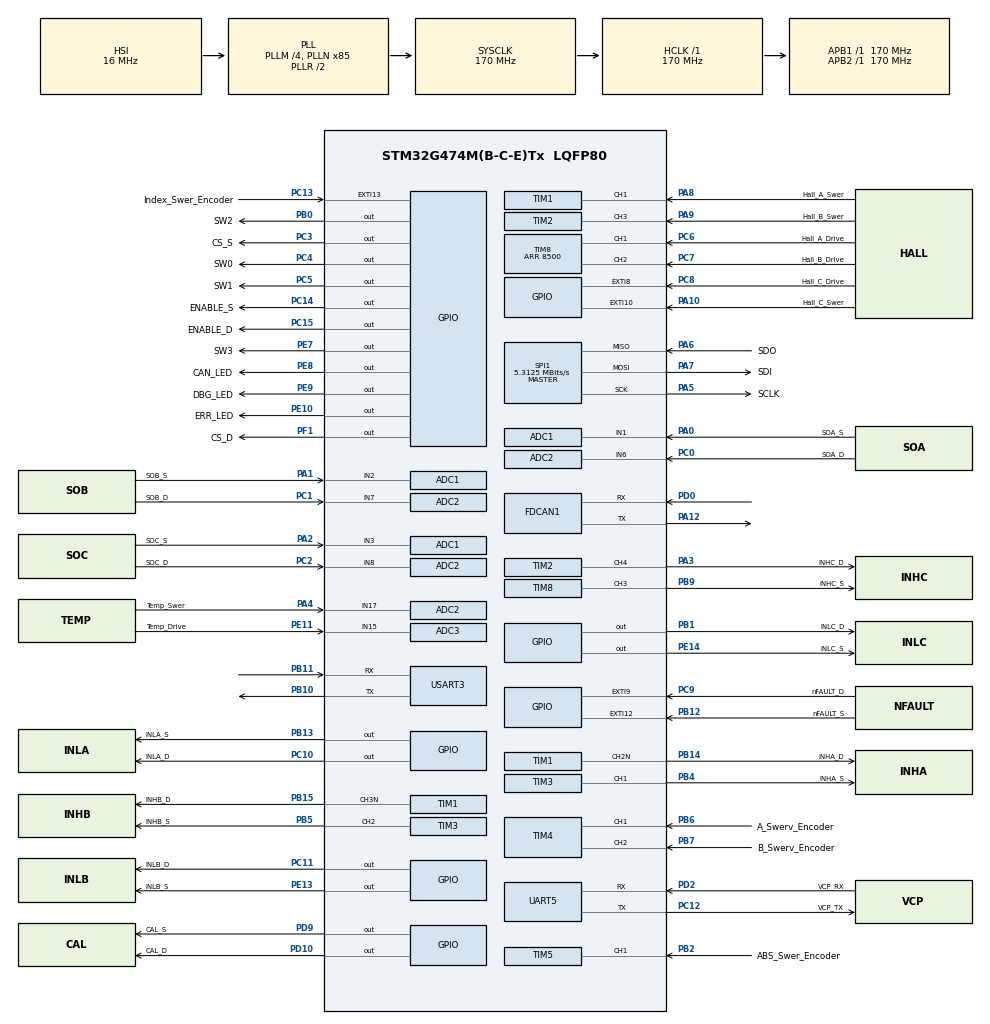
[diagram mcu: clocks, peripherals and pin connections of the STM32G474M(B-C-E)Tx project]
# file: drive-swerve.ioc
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ADC1.Channel-0\#ChannelRegularConversion=ADC_CHANNEL_1
ADC1.EnableInjectedConversion=ENABLE
ADC1.InjNumberOfConversion=3
ADC1.InjectedChannel-1\#ChannelInjectedConversion=ADC_CHANNEL_1
ADC1.InjectedChannel-2\#ChannelInjectedConversion=ADC_CHANNEL_2
ADC1.InjectedChannel-3\#ChannelInjectedConversion=ADC_CHANNEL_3
ADC1.InjectedOffsetNumber-1\#ChannelInjectedConversion=ADC_OFFSET_NONE
ADC1.InjectedOffsetNumber-2\#ChannelInjectedConversion=ADC_OFFSET_NONE
ADC1.InjectedOffsetNumber-3\#ChannelInjectedConversion=ADC_OFFSET_NONE
ADC1.InjectedRank-1\#ChannelInjectedConversion=1
ADC1.InjectedRank-2\#ChannelInjectedConversion=2
ADC1.InjectedRank-3\#ChannelInjectedConversion=3
ADC1.InjectedSamplingTime-1\#ChannelInjectedConversion=ADC_SAMPLETIME_2CYCLES_5
ADC1.InjectedSamplingTime-2\#ChannelInjectedConversion=ADC_SAMPLETIME_2CYCLES_5
ADC1.InjectedSamplingTime-3\#ChannelInjectedConversion=ADC_SAMPLETIME_2CYCLES_5
ADC1.NbrOfConversionFlag=1
ADC1.OffsetNumber-0\#ChannelRegularConversion=ADC_OFFSET_NONE
ADC1.Rank-0\#ChannelRegularConversion=1
ADC1.SamplingTime-0\#ChannelRegularConversion=ADC_SAMPLETIME_2CYCLES_5
ADC1.master=1
ADC2.Channel-0\#ChannelRegularConversion=ADC_CHANNEL_17
ADC2.EnableInjectedConversion=ENABLE
ADC2.InjNumberOfConversion=3
ADC2.InjectedChannel-1\#ChannelInjectedConversion=ADC_CHANNEL_6
ADC2.InjectedChannel-2\#ChannelInjectedConversion=ADC_CHANNEL_7
ADC2.InjectedChannel-3\#ChannelInjectedConversion=ADC_CHANNEL_8
ADC2.InjectedOffsetNumber-1\#ChannelInjectedConversion=ADC_OFFSET_NONE
ADC2.InjectedOffsetNumber-2\#ChannelInjectedConversion=ADC_OFFSET_NONE
ADC2.InjectedOffsetNumber-3\#ChannelInjectedConversion=ADC_OFFSET_NONE
ADC2.InjectedRank-1\#ChannelInjectedConversion=1
ADC2.InjectedRank-2\#ChannelInjectedConversion=2
ADC2.InjectedRank-3\#ChannelInjectedConversion=3
ADC2.InjectedSamplingTime-1\#ChannelInjectedConversion=ADC_SAMPLETIME_2CYCLES_5
ADC2.InjectedSamplingTime-2\#ChannelInjectedConversion=ADC_SAMPLETIME_2CYCLES_5
ADC2.InjectedSamplingTime-3\#ChannelInjectedConversion=ADC_SAMPLETIME_2CYCLES_5
ADC2.NbrOfConversionFlag=1
ADC2.OffsetNumber-0\#ChannelRegularConversion=ADC_OFFSET_NONE
ADC2.Rank-0\#ChannelRegularConversion=1
ADC2.Rank1_Channel=ADC_CHANNEL_6
ADC2.Rank2_Channel=ADC_CHANNEL_7
ADC2.Rank3_Channel=ADC_CHANNEL_8
ADC2.Rank4_Channel=ADC_CHANNEL_6
ADC2.SamplingTime-0\#ChannelRegularConversion=ADC_SAMPLETIME_2CYCLES_5
ADC3.Channel-0\#ChannelRegularConversion=ADC_CHANNEL_15
ADC3.NbrOfConversionFlag=1
ADC3.OffsetNumber-0\#ChannelRegularConversion=ADC_OFFSET_NONE
ADC3.Rank-0\#ChannelRegularConversion=1
ADC3.SamplingTime-0\#ChannelRegularConversion=ADC_SAMPLETIME_2CYCLES_5
ADC3.master=1
FDCAN1.AutoRetransmission=ENABLE
FDCAN1.CalculateBaudRateNominal=1250000
FDCAN1.CalculateTimeBitNominal=800
FDCAN1.CalculateTimeQuantumNominal=23.529411764705884
FDCAN1.NominalPrescaler=4
FDCAN1.NominalSyncJumpWidth=4
FDCAN1.NominalTimeSeg1=28
FDCAN1.NominalTimeSeg2=5
Mcu.Family=STM32G4
Mcu.Name=STM32G474M(B-C-E)Tx
Mcu.Package=LQFP80
NVIC.PriorityGroup=NVIC_PRIORITYGROUP_4
NVIC.TIM1_CC_IRQn=true\:0\:0\:false\:false\:true\:true\:true\:true
NVIC.TIM2_IRQn=true\:0\:0\:false\:false\:true\:true\:true\:true
NVIC.TIM8_CC_IRQn=true\:0\:0\:false\:false\:true\:true\:true\:true
PA0.GPIO_Label=SOA_S
PA0.Mode=IN1-Single-Ended
PA0.Signal=ADC1_IN1
PA1.GPIO_Label=SOB_S
PA1.Mode=IN2-Single-Ended
PA1.Signal=ADC1_IN2
PA10.GPIO_Label=Hall_C_Swer
PA10.GPIO_ModeDefaultEXTI=GPIO_MODE_IT_RISING_FALLING
PA10.Signal=GPXTI10
PA12.Mode=FDCAN_Activate
PA12.Signal=FDCAN1_TX
PA13.Mode=JTAG_4_pins
PA13.Signal=SYS_JTMS-SWDIO
PA14.Mode=JTAG_4_pins
PA14.Signal=SYS_JTCK-SWCLK
PA15.Mode=JTAG_4_pins
PA15.Signal=SYS_JTDI
PA2.GPIO_Label=SOC_S
PA2.Mode=IN3-Single-Ended
PA2.Signal=ADC1_IN3
PA3.GPIO_Label=INHC_D
PA3.Signal=S_TIM2_CH4
PA4.GPIO_Label=Temp_Swer
PA4.Mode=IN17-Single-Ended
PA4.Signal=ADC2_IN17
PA5.GPIO_Label=SCLK
PA5.Mode=Full_Duplex_Master
PA5.Signal=SPI1_SCK
PA6.GPIO_Label=SDO
PA6.Mode=Full_Duplex_Master
PA6.Signal=SPI1_MISO
PA7.GPIO_Label=SDI
PA7.Mode=Full_Duplex_Master
PA7.Signal=SPI1_MOSI
PA8.GPIO_Label=Hall_A_Swer
PA8.Signal=S_TIM1_CH1
PA9.GPIO_Label=Hall_B_Swer
PA9.Signal=S_TIM2_CH3
PB0.GPIO_Label=SW2
PB0.Signal=GPIO_Output
PB1.GPIO_Label=INLC_D
PB1.Signal=GPIO_Output
PB10.Mode=Asynchronous
PB10.Signal=USART3_TX
PB11.Mode=Asynchronous
PB11.Signal=USART3_RX
PB12.GPIO_Label=nFAULT_S
PB12.Signal=GPXTI12
PB13.GPIO_Label=INLA_S
PB13.Signal=GPIO_Output
PB14.GPIO_Label=INHA_D
PB14.Mode=PWM Generation2 CH2N
PB14.Signal=TIM1_CH2N
PB15.GPIO_Label=INHB_D
PB15.Mode=PWM Generation3 CH3N
PB15.Signal=TIM1_CH3N
PB2.GPIO_Label=ABS_Swer_Encoder
PB2.Signal=S_TIM5_CH1
PB3.Mode=JTAG_4_pins
PB3.Signal=SYS_JTDO-SWO
PB4.GPIO_Label=INHA_S
PB4.Signal=S_TIM3_CH1
PB5.GPIO_Label=INHB_S
PB5.Signal=S_TIM3_CH2
PB6.GPIO_Label=A_Swerv_Encoder
PB6.Signal=S_TIM4_CH1
PB7.GPIO_Label=B_Swerv_Encoder
PB7.Signal=S_TIM4_CH2
PB9.GPIO_Label=INHC_S
PB9.Signal=S_TIM8_CH3
PC0.GPIO_Label=SOA_D
PC0.Mode=IN6-Single-Ended
PC0.Signal=ADC2_IN6
PC1.GPIO_Label=SOB_D
PC1.Mode=IN7-Single-Ended
PC1.Signal=ADC2_IN7
PC10.GPIO_Label=INLA_D
PC10.Signal=GPIO_Output
PC11.GPIO_Label=INLB_D
PC11.Signal=GPIO_Output
PC12.GPIO_Label=VCP_TX
PC12.Mode=Asynchronous
PC12.Signal=UART5_TX
PC13.GPIO_Label=Index_Swer_Encoder
PC13.Signal=GPXTI13
PC14-OSC32_IN.GPIO_Label=ENABLE_S
PC14-OSC32_IN.Signal=GPIO_Output
PC15-OSC32_OUT.GPIO_Label=ENABLE_D
PC15-OSC32_OUT.Signal=GPIO_Output
PC2.GPIO_Label=SOC_D
PC2.Mode=IN8-Single-Ended
PC2.Signal=ADC2_IN8
PC3.GPIO_Label=CS_S
PC3.Signal=GPIO_Output
PC4.GPIO_Label=SW0
PC4.Signal=GPIO_Output
PC5.GPIO_Label=SW1
PC5.Signal=GPIO_Output
PC6.GPIO_Label=Hall_A_Drive
PC6.Signal=S_TIM8_CH1
PC7.GPIO_Label=Hall_B_Drive
PC7.Signal=S_TIM8_CH2
PC8.GPIO_Label=Hall_C_Drive
PC8.GPIO_ModeDefaultEXTI=GPIO_MODE_IT_RISING_FALLING
PC8.Signal=GPXTI8
PC9.GPIO_Label=nFAULT_D
PC9.Signal=GPXTI9
PD0.Mode=FDCAN_Activate
PD0.Signal=FDCAN1_RX
PD10.GPIO_Label=CAL_D
PD10.Signal=GPIO_Output
PD2.GPIO_Label=VCP_RX
PD2.Mode=Asynchronous
PD2.Signal=UART5_RX
PD9.GPIO_Label=CAL_S
PD9.Signal=GPIO_Output
PE10.GPIO_Label=ERR_LED
PE10.Signal=GPIO_Output
PE11.GPIO_Label=Temp_Drive
PE11.Mode=IN15-Single-Ended
PE11.Signal=ADC3_IN15
PE13.GPIO_Label=INLB_S
PE13.Signal=GPIO_Output
PE14.GPIO_Label=INLC_S
PE14.Signal=GPIO_Output
PE7.GPIO_Label=SW3
PE7.Signal=GPIO_Output
PE8.GPIO_Label=CAN_LED
PE8.Signal=GPIO_Output
PE9.GPIO_Label=DBG_LED
PE9.Signal=GPIO_Output
PF0-OSC_IN.Mode=HSE-External-Clock-Source
PF0-OSC_IN.Signal=RCC_OSC_IN
PF1-OSC_OUT.GPIO_Label=CS_D
PF1-OSC_OUT.Signal=GPIO_Output
ProjectManager.HeapSize=0x200
ProjectManager.StackSize=0x400
ProjectManager.TargetToolchain=CMake
RCC.ADC12Freq_Value=170000000
RCC.ADC345Freq_Value=170000000
RCC.AHBFreq_Value=170000000
RCC.APB1Freq_Value=170000000
RCC.APB1TimFreq_Value=170000000
RCC.APB2Freq_Value=170000000
RCC.APB2TimFreq_Value=170000000
RCC.CortexFreq_Value=170000000
RCC.EXTERNAL_CLOCK_VALUE=12288000
RCC.HCLKFreq_Value=170000000
RCC.HSE_VALUE=8000000
RCC.HSI48_VALUE=48000000
RCC.HSI_VALUE=16000000
RCC.LSE_VALUE=32768
RCC.PLLM=RCC_PLLM_DIV4
RCC.PLLN=85
RCC.SYSCLKFreq_VALUE=170000000
RCC.SYSCLKSource=RCC_SYSCLKSOURCE_PLLCLK
RCC.USBFreq_Value=170000000
RCC.VCOOutputFreq_Value=340000000
SH.S_TIM1_CH1.0=TIM1_CH1,Input_Capture1_from_TI1
SH.S_TIM2_CH3.0=TIM2_CH3,Input_Capture3_from_TI3
SH.S_TIM2_CH4.0=TIM2_CH4,PWM Generation4 CH4
SH.S_TIM3_CH1.0=TIM3_CH1,PWM Generation1 CH1
SH.S_TIM3_CH2.0=TIM3_CH2,PWM Generation2 CH2
SH.S_TIM4_CH1.0=TIM4_CH1,Encoder_Interface
SH.S_TIM4_CH2.0=TIM4_CH2,Encoder_Interface
SH.S_TIM5_CH1.0=TIM5_CH1,PWM_Input_1
SH.S_TIM8_CH1.0=TIM8_CH1,Input_Capture1_from_TI1
SH.S_TIM8_CH2.0=TIM8_CH2,Input_Capture2_from_TI2
SH.S_TIM8_CH3.0=TIM8_CH3,PWM Generation3 CH3
SPI1.BaudRatePrescaler=SPI_BAUDRATEPRESCALER_32
SPI1.CLKPhase=SPI_PHASE_2EDGE
SPI1.CalculateBaudRate=5.3125 MBits/s
SPI1.DataSize=SPI_DATASIZE_16BIT
SPI1.Direction=SPI_DIRECTION_2LINES
SPI1.Mode=SPI_MODE_MASTER
SPI1.VirtualType=VM_MASTER
TIM1.Channel-Input_Capture1_from_TI1=TIM_CHANNEL_1
TIM1.Channel-PWM\ Generation2\ CH2N=TIM_CHANNEL_2
TIM1.Channel-PWM\ Generation3\ CH3N=TIM_CHANNEL_3
TIM1.CounterMode=TIM_COUNTERMODE_CENTERALIGNED1
TIM1.ICPolarity_CH1=TIM_INPUTCHANNELPOLARITY_BOTHEDGE
TIM1.OCNPolarity_2=TIM_OCNPOLARITY_LOW
TIM1.OCNPolarity_3=TIM_OCNPOLARITY_HIGH
TIM1.PeriodNoDither=8500
TIM1.TIM_MasterOutputTrigger=TIM_TRGO_RESET
TIM1.TIM_MasterSlaveMode=TIM_MASTERSLAVEMODE_DISABLE
TIM2.Channel-Input_Capture3_from_TI3=TIM_CHANNEL_3
TIM2.Channel-PWM\ Generation4\ CH4=TIM_CHANNEL_4
TIM2.CounterMode=TIM_COUNTERMODE_CENTERALIGNED1
TIM2.ICPolarity_CH3=TIM_INPUTCHANNELPOLARITY_BOTHEDGE
TIM2.PeriodNoDither=8500
TIM2.TIM_MasterOutputTrigger=TIM_TRGO_ENABLE
TIM2.TIM_MasterSlaveMode=TIM_MASTERSLAVEMODE_ENABLE
TIM3.Channel-PWM\ Generation1\ CH1=TIM_CHANNEL_1
TIM3.Channel-PWM\ Generation2\ CH2=TIM_CHANNEL_2
TIM3.CounterMode=TIM_COUNTERMODE_CENTERALIGNED1
TIM3.PeriodNoDither=8500
TIM3.TIM_MasterOutputTrigger=TIM_TRGO_RESET
TIM3.TIM_MasterSlaveMode=TIM_MASTERSLAVEMODE_DISABLE
TIM4.EncoderMode=TIM_ENCODERMODE_TI12
TIM4.IC2Filter=5
TIM5.CounterMode=TIM_COUNTERMODE_CENTERALIGNED1
TIM5.ICFilter_1=5
TIM5.ICFilter_2=5
TIM5.PeriodNoDither=8500
TIM8.Channel-Input_Capture1_from_TI1=TIM_CHANNEL_1
TIM8.Channel-Input_Capture2_from_TI2=TIM_CHANNEL_2
TIM8.Channel-PWM\ Generation3\ CH3=TIM_CHANNEL_3
TIM8.CounterMode=TIM_COUNTERMODE_CENTERALIGNED1
TIM8.ICPolarity_CH1=TIM_INPUTCHANNELPOLARITY_BOTHEDGE
TIM8.ICPolarity_CH2=TIM_INPUTCHANNELPOLARITY_BOTHEDGE
TIM8.PeriodNoDither=8500
TIM8.TIM_MasterOutputTrigger=TIM_TRGO_ENABLE
TIM8.TIM_MasterSlaveMode=TIM_MASTERSLAVEMODE_ENABLE
USART3.VirtualMode-Asynchronous=VM_ASYNC
VP_CORDIC_VS_CORDIC.Mode=CORDIC_Activate
VP_SYS_VS_DBSignals.Mode=DisableDeadBatterySignals
VP_TIM1_VS_ClockSourceINT.Mode=Internal
VP_TIM1_VS_ClockSourceITR.Mode=TriggerSource_ITR1
VP_TIM1_VS_ControllerModeTrigger.Mode=Trigger Mode
VP_TIM2_VS_ClockSourceINT.Mode=Internal
VP_TIM3_VS_ClockSourceINT.Mode=Internal
VP_TIM3_VS_ClockSourceITR.Mode=TriggerSource_ITR7
VP_TIM3_VS_ControllerModeTrigger.Mode=Trigger Mode
VP_TIM5_VS_ClockSourceINT.Mode=Internal
VP_TIM8_VS_ClockSourceINT.Mode=Internal
board=custom

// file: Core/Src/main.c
/* USER CODE BEGIN Header */
/**
  ******************************************************************************
  * @file           : main.c
  * @brief          : Main program body
  ******************************************************************************
  * @attention
  *
  * Copyright (c) 2026 STMicroelectronics.
  * All rights reserved.
  *
  * This software is licensed under terms that can be found in the LICENSE file
  * in the root directory of this software component.
  * If no LICENSE file comes with this software, it is provided AS-IS.
  *
  ******************************************************************************
  */
/* USER CODE END Header */
#include "main.h"

/* USER CODE BEGIN Includes */
#include "hall_encoders.h"
#include "commutation.h"
#include "drv8323.h"
#include "CAN26/CAN26.h"

/* USER CODE END Includes */

/* USER CODE BEGIN PM */
#define HALL_DRIVE_TIM1 (&htim8)
#define HALL_DRIVE_TIM1_CHANNEL (TIM_CHANNEL_1)
#define HALL_DRIVE_TIM2 (&htim8)
#define HALL_DRIVE_TIM2_CHANNEL (TIM_CHANNEL_2)
#define HALL_SWERV_TIM1 (&htim1)
#define HALL_SWERV_TIM1_CHANNEL (TIM_CHANNEL_1)
#define HALL_SWERV_TIM2 (&htim2)
#define HALL_SWERV_TIM2_CHANNEL (TIM_CHANNEL_3)

#define INHA_D_TIM (&htim1)
#define INHA_D_TIM_CHANNEL (TIM_CHANNEL_2)
#define INHB_D_TIM (&htim1)
#define INHB_D_TIM_CHANNEL (TIM_CHANNEL_3)
#define INHC_D_TIM (&htim2)
#define INHC_D_TIM_CHANNEL (TIM_CHANNEL_4)

#define INHA_S_TIM (&htim3)
#define INHA_S_TIM_CHANNEL (TIM_CHANNEL_1)
#define INHB_S_TIM (&htim3)
#define INHB_S_TIM_CHANNEL (TIM_CHANNEL_2)
#define INHC_S_TIM (&htim8)
#define INHC_S_TIM_CHANNEL (TIM_CHANNEL_3)

/* USER CODE END PM */

ADC_HandleTypeDef hadc1;
ADC_HandleTypeDef hadc2;
ADC_HandleTypeDef hadc3;

CORDIC_HandleTypeDef hcordic;

FDCAN_HandleTypeDef hfdcan1;

SPI_HandleTypeDef hspi1;

TIM_HandleTypeDef htim1;
TIM_HandleTypeDef htim2;
TIM_HandleTypeDef htim3;
TIM_HandleTypeDef htim4;
TIM_HandleTypeDef htim5;
TIM_HandleTypeDef htim8;

UART_HandleTypeDef huart5;
UART_HandleTypeDef huart3;

/* USER CODE BEGIN PV */
CANHandle_t CANHandle = &hfdcan1;
CANDevice_t CANDevice = {
    .motorDomain = 1,
    .deviceUUID = CAN_UUID_BLDC_FRONT_TIRE_LEFT
};

/* USER CODE END PV */

void SystemClock_Config(void);
static void MX_GPIO_Init(void);
static void MX_FDCAN1_Init(void);
static void MX_ADC2_Init(void);
static void MX_ADC1_Init(void);
static void MX_ADC3_Init(void);
static void MX_SPI1_Init(void);
static void MX_TIM1_Init(void);
static void MX_TIM3_Init(void);
static void MX_UART5_Init(void);
static void MX_USART3_UART_Init(void);
static void MX_TIM4_Init(void);
static void MX_TIM5_Init(void);
static void MX_TIM8_Init(void);
static void MX_CORDIC_Init(void);
static void MX_TIM2_Init(void);

/* USER CODE BEGIN 0 */
// Sends a general acknowlegement packet with success
static uint8_t SendAck(CANHandle_t CANHandle, const CANPacket_t *in_packet) {
    CANDevice_t receiver = in_packet->device;
    CANDevice_t sender = (CANDevice_t){.deviceUUID = in_packet->senderUUID};
    CANPacket_t response = CANUniversalPacket_Acknowledge(receiver, sender, false, in_packet->command & 0x7F);
    return CANSend(CANHandle, &response);
}

/* USER CODE END 0 */

int main(void)
{

  /* MCU Configuration--------------------------------------------------------*/

  /* Reset of all peripherals, Initializes the Flash interface and the Systick. */
  HAL_Init();

  /* Configure the system clock */
  SystemClock_Config();

  /* Initialize all configured peripherals */
  MX_GPIO_Init();
  MX_FDCAN1_Init();
  MX_ADC2_Init();
  MX_ADC1_Init();
  MX_ADC3_Init();
  MX_SPI1_Init();
  MX_TIM1_Init();
  MX_TIM3_Init();
  MX_UART5_Init();
  MX_USART3_UART_Init();
  MX_TIM4_Init();
  MX_TIM5_Init();
  MX_TIM8_Init();
  MX_CORDIC_Init();
  MX_TIM2_Init();
  /* USER CODE BEGIN 2 */
  Hall_Init(HALL_ID_DRIVE, (HallConfig_t){
            .timer1 = HALL_DRIVE_TIM1,
            .timer1_channel = HALL_DRIVE_TIM1_CHANNEL,
            .timer2 = HALL_DRIVE_TIM2,
            .timer2_channel = HALL_DRIVE_TIM2_CHANNEL,
            .a_gpio = Hall_A_Drive_GPIO_Port,
            .a_gpio_pin = Hall_A_Drive_Pin,
            .b_gpio = Hall_B_Drive_GPIO_Port,
            .b_gpio_pin = Hall_B_Drive_Pin,
            .c_gpio = Hall_C_Drive_GPIO_Port,
            .c_gpio_pin = Hall_C_Drive_Pin
  });
  Hall_Init(HALL_ID_SWERVE, (HallConfig_t){
            .timer1 = HALL_SWERV_TIM1,
            .timer1_channel = HALL_DRIVE_TIM1_CHANNEL,
            .timer2 = HALL_SWERV_TIM2,
            .timer2_channel = HALL_DRIVE_TIM2_CHANNEL,
            .a_gpio = Hall_A_Swer_GPIO_Port,
            .a_gpio_pin = Hall_A_Swer_Pin,
            .b_gpio = Hall_B_Swer_GPIO_Port,
            .b_gpio_pin = Hall_B_Swer_Pin,
            .c_gpio = Hall_C_Swer_GPIO_Port,
            .c_gpio_pin = Hall_C_Swer_Pin
  });
  Commutation_Init(DRIVER_ID_DRIVE, (GateDriver_t){
            .a = (PWMPin_t){
                .tim = INHA_D_TIM,
                .tim_channel = INHA_D_TIM_CHANNEL,
                .lo_gpio = INLA_D_GPIO_Port,
                .lo_gpio_pin = INLA_D_Pin
            },
            .b = (PWMPin_t){
                .tim = INHB_D_TIM,
                .tim_channel = INHB_D_TIM_CHANNEL,
                .lo_gpio = INLB_D_GPIO_Port,
                .lo_gpio_pin = INLB_D_Pin
            },
            .c = (PWMPin_t){
                .tim = INHC_D_TIM,
                .tim_channel = INHC_D_TIM_CHANNEL,
                .lo_gpio = INLC_D_GPIO_Port,
                .lo_gpio_pin = INLC_D_Pin
            }
  });
  Commutation_Init(DRIVER_ID_SWERVE, (GateDriver_t){
            .a = (PWMPin_t){
                .tim = INHA_S_TIM,
                .tim_channel = INHA_S_TIM_CHANNEL,
                .lo_gpio = INLA_S_GPIO_Port,
                .lo_gpio_pin = INLA_S_Pin
            },
            .b = (PWMPin_t){
                .tim = INHB_S_TIM,
                .tim_channel = INHB_S_TIM_CHANNEL,
                .lo_gpio = INLB_S_GPIO_Port,
                .lo_gpio_pin = INLB_S_Pin
            },
            .c = (PWMPin_t){
                .tim = INHC_S_TIM,
                .tim_channel = INHC_S_TIM_CHANNEL,
                .lo_gpio = INLC_S_GPIO_Port,
                .lo_gpio_pin = INLC_S_Pin
            }
  });

  Drv8323_Init(DRV8323_ID_DRIVE, (Drv8323_t){
            .spi = &hspi1,
            .cs_gpio = CS_D_GPIO_Port,
            .cs_pin = CS_D_Pin,
            .enable_gpio = ENABLE_D_GPIO_Port,
            .enable_pin = ENABLE_D_Pin,
            .fault_gpio = nFAULT_D_GPIO_Port,
            .fault_pin = nFAULT_D_Pin
  });
  Drv8323_Init(DRV8323_ID_SWERVE, (Drv8323_t){
            .spi = &hspi1,
            .cs_gpio = CS_S_GPIO_Port,
            .cs_pin = CS_S_Pin,
            .enable_gpio = ENABLE_S_GPIO_Port,
            .enable_pin = ENABLE_S_Pin,
            .fault_gpio = nFAULT_S_GPIO_Port,
            .fault_pin = nFAULT_S_Pin
  });

  CANInit(CANHandle, &CANDevice);

  /* Configure CORDIC peripheral */
  LL_CORDIC_Config(CORDIC, LL_CORDIC_FUNCTION_COSINE,
		  	  	  	  	   LL_CORDIC_PRECISION_6CYCLES,
						   LL_CORDIC_SCALE_0,
						   LL_CORDIC_NBWRITE_1,
						   LL_CORDIC_NBREAD_2,
						   LL_CORDIC_INSIZE_16BITS,
						   LL_CORDIC_OUTSIZE_16BITS);

  // Start commutation (duty cycle of 0 at start)
  HallState_t drive_state = Hall_Update(HALL_ID_DRIVE);
  Commutation_UpdateGateDriver(DRIVER_ID_DRIVE, drive_state);
  HallState_t swerve_state = Hall_Update(HALL_ID_SWERVE);
  Commutation_UpdateGateDriver(DRIVER_ID_SWERVE, swerve_state);

  /* USER CODE END 2 */

  /* Infinite loop */
  /* USER CODE BEGIN WHILE */
  while (1) {
    CANPacket_t packet;
    if (CANPollAndReceive(CANHandle, &packet)) {
        int ack = packet.command & 0x80;
        switch (packet.command & 0x7F) {
            case CAN_COMMAND_ID__VERSION_GET: {
                if (ack) {
                    CANUniversalPacket_GetFirmwareVersion_Decoded_t decoded =
                        CANUniversalPacket_GetFirmwareVersion_Decode(&packet);
                    CANPacket_t response = CANUniversalPacket_FirmwareVersion(decoded.receiver, decoded.sender, "d&s", 0);
                    CANSend(CANHandle, &response);

                }
                break;
            }
            case CAN_COMMAND_ID__E_STOP: {
                // TODO: do estop things
                if (ack) SendAck(CANHandle, &packet);
                break;
            }
            // TODO: encoder packets
            // TODO: bldc packets
        }
    }
    /* USER CODE END WHILE */

  }
}

void SystemClock_Config(void)
{
  RCC_OscInitTypeDef RCC_OscInitStruct = {0};
  RCC_ClkInitTypeDef RCC_ClkInitStruct = {0};

  /** Configure the main internal regulator output voltage
  */
  HAL_PWREx_ControlVoltageScaling(PWR_REGULATOR_VOLTAGE_SCALE1_BOOST);

  /** Initializes the RCC Oscillators according to the specified parameters
  * in the RCC_OscInitTypeDef structure.
  */
  RCC_OscInitStruct.OscillatorType = RCC_OSCILLATORTYPE_HSI;
  RCC_OscInitStruct.HSIState = RCC_HSI_ON;
  RCC_OscInitStruct.HSICalibrationValue = RCC_HSICALIBRATION_DEFAULT;
  RCC_OscInitStruct.PLL.PLLState = RCC_PLL_ON;
  RCC_OscInitStruct.PLL.PLLSource = RCC_PLLSOURCE_HSI;
  RCC_OscInitStruct.PLL.PLLM = RCC_PLLM_DIV4;
  RCC_OscInitStruct.PLL.PLLN = 85;
  RCC_OscInitStruct.PLL.PLLP = RCC_PLLP_DIV2;
  RCC_OscInitStruct.PLL.PLLQ = RCC_PLLQ_DIV2;
  RCC_OscInitStruct.PLL.PLLR = RCC_PLLR_DIV2;
  if (HAL_RCC_OscConfig(&RCC_OscInitStruct) != HAL_OK)
  {
    Error_Handler();
  }

  /** Initializes the CPU, AHB and APB buses clocks
  */
  RCC_ClkInitStruct.ClockType = RCC_CLOCKTYPE_HCLK|RCC_CLOCKTYPE_SYSCLK
                              |RCC_CLOCKTYPE_PCLK1|RCC_CLOCKTYPE_PCLK2;
  RCC_ClkInitStruct.SYSCLKSource = RCC_SYSCLKSOURCE_PLLCLK;
  RCC_ClkInitStruct.AHBCLKDivider = RCC_SYSCLK_DIV1;
  RCC_ClkInitStruct.APB1CLKDivider = RCC_HCLK_DIV1;
  RCC_ClkInitStruct.APB2CLKDivider = RCC_HCLK_DIV1;

  if (HAL_RCC_ClockConfig(&RCC_ClkInitStruct, FLASH_LATENCY_4) != HAL_OK)
  {
    Error_Handler();
  }
}

static void MX_ADC1_Init(void)
{

  ADC_MultiModeTypeDef multimode = {0};
  ADC_ChannelConfTypeDef sConfig = {0};
  ADC_InjectionConfTypeDef sConfigInjected = {0};

  /** Common config
  */
  hadc1.Instance = ADC1;
  hadc1.Init.ClockPrescaler = ADC_CLOCK_SYNC_PCLK_DIV4;
  hadc1.Init.Resolution = ADC_RESOLUTION_12B;
  hadc1.Init.DataAlign = ADC_DATAALIGN_RIGHT;
  hadc1.Init.GainCompensation = 0;
  hadc1.Init.ScanConvMode = ADC_SCAN_ENABLE;
  hadc1.Init.EOCSelection = ADC_EOC_SINGLE_CONV;
  hadc1.Init.LowPowerAutoWait = DISABLE;
  hadc1.Init.ContinuousConvMode = DISABLE;
  hadc1.Init.NbrOfConversion = 1;
  hadc1.Init.DiscontinuousConvMode = DISABLE;
  hadc1.Init.ExternalTrigConv = ADC_SOFTWARE_START;
  hadc1.Init.ExternalTrigConvEdge = ADC_EXTERNALTRIGCONVEDGE_NONE;
  hadc1.Init.DMAContinuousRequests = DISABLE;
  hadc1.Init.Overrun = ADC_OVR_DATA_PRESERVED;
  hadc1.Init.OversamplingMode = DISABLE;
  if (HAL_ADC_Init(&hadc1) != HAL_OK)
  {
    Error_Handler();
  }

  /** Configure the ADC multi-mode
  */
  multimode.Mode = ADC_MODE_INDEPENDENT;
  if (HAL_ADCEx_MultiModeConfigChannel(&hadc1, &multimode) != HAL_OK)
  {
    Error_Handler();
  }

  /** Configure Regular Channel
  */
  sConfig.Channel = ADC_CHANNEL_1;
  sConfig.Rank = ADC_REGULAR_RANK_1;
  sConfig.SamplingTime = ADC_SAMPLETIME_2CYCLES_5;
  sConfig.SingleDiff = ADC_SINGLE_ENDED;
  sConfig.OffsetNumber = ADC_OFFSET_NONE;
  sConfig.Offset = 0;
  if (HAL_ADC_ConfigChannel(&hadc1, &sConfig) != HAL_OK)
  {
    Error_Handler();
  }

  /** Configure Injected Channel
  */
  sConfigInjected.InjectedChannel = ADC_CHANNEL_1;
  sConfigInjected.InjectedRank = ADC_INJECTED_RANK_1;
  sConfigInjected.InjectedSamplingTime = ADC_SAMPLETIME_2CYCLES_5;
  sConfigInjected.InjectedSingleDiff = ADC_SINGLE_ENDED;
  sConfigInjected.InjectedOffsetNumber = ADC_OFFSET_NONE;
  sConfigInjected.InjectedOffset = 0;
  sConfigInjected.InjectedNbrOfConversion = 3;
  sConfigInjected.InjectedDiscontinuousConvMode = DISABLE;
  sConfigInjected.AutoInjectedConv = DISABLE;
  sConfigInjected.QueueInjectedContext = DISABLE;
  sConfigInjected.ExternalTrigInjecConv = ADC_INJECTED_SOFTWARE_START;
  sConfigInjected.ExternalTrigInjecConvEdge = ADC_EXTERNALTRIGINJECCONV_EDGE_NONE;
  sConfigInjected.InjecOversamplingMode = DISABLE;
  if (HAL_ADCEx_InjectedConfigChannel(&hadc1, &sConfigInjected) != HAL_OK)
  {
    Error_Handler();
  }

  /** Configure Injected Channel
  */
  sConfigInjected.InjectedChannel = ADC_CHANNEL_2;
  sConfigInjected.InjectedRank = ADC_INJECTED_RANK_2;
  if (HAL_ADCEx_InjectedConfigChannel(&hadc1, &sConfigInjected) != HAL_OK)
  {
    Error_Handler();
  }

  /** Configure Injected Channel
  */
  sConfigInjected.InjectedChannel = ADC_CHANNEL_3;
  sConfigInjected.InjectedRank = ADC_INJECTED_RANK_3;
  if (HAL_ADCEx_InjectedConfigChannel(&hadc1, &sConfigInjected) != HAL_OK)
  {
    Error_Handler();
  }

}

static void MX_ADC2_Init(void)
{

  ADC_ChannelConfTypeDef sConfig = {0};
  ADC_InjectionConfTypeDef sConfigInjected = {0};

  /** Common config
  */
  hadc2.Instance = ADC2;
  hadc2.Init.ClockPrescaler = ADC_CLOCK_SYNC_PCLK_DIV4;
  hadc2.Init.Resolution = ADC_RESOLUTION_12B;
  hadc2.Init.DataAlign = ADC_DATAALIGN_RIGHT;
  hadc2.Init.GainCompensation = 0;
  hadc2.Init.ScanConvMode = ADC_SCAN_ENABLE;
  hadc2.Init.EOCSelection = ADC_EOC_SINGLE_CONV;
  hadc2.Init.LowPowerAutoWait = DISABLE;
  hadc2.Init.ContinuousConvMode = DISABLE;
  hadc2.Init.NbrOfConversion = 1;
  hadc2.Init.DiscontinuousConvMode = DISABLE;
  hadc2.Init.ExternalTrigConv = ADC_SOFTWARE_START;
  hadc2.Init.ExternalTrigConvEdge = ADC_EXTERNALTRIGCONVEDGE_NONE;
  hadc2.Init.DMAContinuousRequests = DISABLE;
  hadc2.Init.Overrun = ADC_OVR_DATA_PRESERVED;
  hadc2.Init.OversamplingMode = DISABLE;
  if (HAL_ADC_Init(&hadc2) != HAL_OK)
  {
    Error_Handler();
  }

  /** Configure Regular Channel
  */
  sConfig.Channel = ADC_CHANNEL_17;
  sConfig.Rank = ADC_REGULAR_RANK_1;
  sConfig.SamplingTime = ADC_SAMPLETIME_2CYCLES_5;
  sConfig.SingleDiff = ADC_SINGLE_ENDED;
  sConfig.OffsetNumber = ADC_OFFSET_NONE;
  sConfig.Offset = 0;
  if (HAL_ADC_ConfigChannel(&hadc2, &sConfig) != HAL_OK)
  {
    Error_Handler();
  }

  /** Configure Injected Channel
  */
  sConfigInjected.InjectedChannel = ADC_CHANNEL_6;
  sConfigInjected.InjectedRank = ADC_INJECTED_RANK_1;
  sConfigInjected.InjectedSamplingTime = ADC_SAMPLETIME_2CYCLES_5;
  sConfigInjected.InjectedSingleDiff = ADC_SINGLE_ENDED;
  sConfigInjected.InjectedOffsetNumber = ADC_OFFSET_NONE;
  sConfigInjected.InjectedOffset = 0;
  sConfigInjected.InjectedNbrOfConversion = 3;
  sConfigInjected.InjectedDiscontinuousConvMode = DISABLE;
  sConfigInjected.AutoInjectedConv = DISABLE;
  sConfigInjected.QueueInjectedContext = DISABLE;
  sConfigInjected.ExternalTrigInjecConv = ADC_INJECTED_SOFTWARE_START;
  sConfigInjected.ExternalTrigInjecConvEdge = ADC_EXTERNALTRIGINJECCONV_EDGE_NONE;
  sConfigInjected.InjecOversamplingMode = DISABLE;
  if (HAL_ADCEx_InjectedConfigChannel(&hadc2, &sConfigInjected) != HAL_OK)
  {
    Error_Handler();
  }

  /** Configure Injected Channel
  */
  sConfigInjected.InjectedChannel = ADC_CHANNEL_7;
  sConfigInjected.InjectedRank = ADC_INJECTED_RANK_2;
  if (HAL_ADCEx_InjectedConfigChannel(&hadc2, &sConfigInjected) != HAL_OK)
  {
    Error_Handler();
  }

  /** Configure Injected Channel
  */
  sConfigInjected.InjectedChannel = ADC_CHANNEL_8;
  sConfigInjected.InjectedRank = ADC_INJECTED_RANK_3;
  if (HAL_ADCEx_InjectedConfigChannel(&hadc2, &sConfigInjected) != HAL_OK)
  {
    Error_Handler();
  }

}

static void MX_ADC3_Init(void)
{

  ADC_MultiModeTypeDef multimode = {0};
  ADC_ChannelConfTypeDef sConfig = {0};

  /** Common config
  */
  hadc3.Instance = ADC3;
  hadc3.Init.ClockPrescaler = ADC_CLOCK_SYNC_PCLK_DIV4;
  hadc3.Init.Resolution = ADC_RESOLUTION_12B;
  hadc3.Init.DataAlign = ADC_DATAALIGN_RIGHT;
  hadc3.Init.GainCompensation = 0;
  hadc3.Init.ScanConvMode = ADC_SCAN_DISABLE;
  hadc3.Init.EOCSelection = ADC_EOC_SINGLE_CONV;
  hadc3.Init.LowPowerAutoWait = DISABLE;
  hadc3.Init.ContinuousConvMode = DISABLE;
  hadc3.Init.NbrOfConversion = 1;
  hadc3.Init.DiscontinuousConvMode = DISABLE;
  hadc3.Init.ExternalTrigConv = ADC_SOFTWARE_START;
  hadc3.Init.ExternalTrigConvEdge = ADC_EXTERNALTRIGCONVEDGE_NONE;
  hadc3.Init.DMAContinuousRequests = DISABLE;
  hadc3.Init.Overrun = ADC_OVR_DATA_PRESERVED;
  hadc3.Init.OversamplingMode = DISABLE;
  if (HAL_ADC_Init(&hadc3) != HAL_OK)
  {
    Error_Handler();
  }

  /** Configure the ADC multi-mode
  */
  multimode.Mode = ADC_MODE_INDEPENDENT;
  if (HAL_ADCEx_MultiModeConfigChannel(&hadc3, &multimode) != HAL_OK)
  {
    Error_Handler();
  }

  /** Configure Regular Channel
  */
  sConfig.Channel = ADC_CHANNEL_15;
  sConfig.Rank = ADC_REGULAR_RANK_1;
  sConfig.SamplingTime = ADC_SAMPLETIME_2CYCLES_5;
  sConfig.SingleDiff = ADC_SINGLE_ENDED;
  sConfig.OffsetNumber = ADC_OFFSET_NONE;
  sConfig.Offset = 0;
  if (HAL_ADC_ConfigChannel(&hadc3, &sConfig) != HAL_OK)
  {
    Error_Handler();
  }

}

static void MX_CORDIC_Init(void)
{

  hcordic.Instance = CORDIC;
  if (HAL_CORDIC_Init(&hcordic) != HAL_OK)
  {
    Error_Handler();
  }

}

static void MX_FDCAN1_Init(void)
{

  hfdcan1.Instance = FDCAN1;
  hfdcan1.Init.ClockDivider = FDCAN_CLOCK_DIV1;
  hfdcan1.Init.FrameFormat = FDCAN_FRAME_CLASSIC;
  hfdcan1.Init.Mode = FDCAN_MODE_NORMAL;
  hfdcan1.Init.AutoRetransmission = ENABLE;
  hfdcan1.Init.TransmitPause = DISABLE;
  hfdcan1.Init.ProtocolException = DISABLE;
  hfdcan1.Init.NominalPrescaler = 4;
  hfdcan1.Init.NominalSyncJumpWidth = 4;
  hfdcan1.Init.NominalTimeSeg1 = 28;
  hfdcan1.Init.NominalTimeSeg2 = 5;
  hfdcan1.Init.DataPrescaler = 1;
  hfdcan1.Init.DataSyncJumpWidth = 1;
  hfdcan1.Init.DataTimeSeg1 = 1;
  hfdcan1.Init.DataTimeSeg2 = 1;
  hfdcan1.Init.StdFiltersNbr = 0;
  hfdcan1.Init.ExtFiltersNbr = 0;
  hfdcan1.Init.TxFifoQueueMode = FDCAN_TX_FIFO_OPERATION;
  if (HAL_FDCAN_Init(&hfdcan1) != HAL_OK)
  {
    Error_Handler();
  }

}

static void MX_SPI1_Init(void)
{

  /* SPI1 parameter configuration*/
  hspi1.Instance = SPI1;
  hspi1.Init.Mode = SPI_MODE_MASTER;
  hspi1.Init.Direction = SPI_DIRECTION_2LINES;
  hspi1.Init.DataSize = SPI_DATASIZE_16BIT;
  hspi1.Init.CLKPolarity = SPI_POLARITY_LOW;
  hspi1.Init.CLKPhase = SPI_PHASE_2EDGE;
  hspi1.Init.NSS = SPI_NSS_SOFT;
  hspi1.Init.BaudRatePrescaler = SPI_BAUDRATEPRESCALER_32;
  hspi1.Init.FirstBit = SPI_FIRSTBIT_MSB;
  hspi1.Init.TIMode = SPI_TIMODE_DISABLE;
  hspi1.Init.CRCCalculation = SPI_CRCCALCULATION_DISABLE;
  hspi1.Init.CRCPolynomial = 7;
  hspi1.Init.CRCLength = SPI_CRC_LENGTH_DATASIZE;
  hspi1.Init.NSSPMode = SPI_NSS_PULSE_DISABLE;
  if (HAL_SPI_Init(&hspi1) != HAL_OK)
  {
    Error_Handler();
  }

}

static void MX_TIM1_Init(void)
{

  TIM_ClockConfigTypeDef sClockSourceConfig = {0};
  TIM_SlaveConfigTypeDef sSlaveConfig = {0};
  TIM_MasterConfigTypeDef sMasterConfig = {0};
  TIM_IC_InitTypeDef sConfigIC = {0};
  TIM_OC_InitTypeDef sConfigOC = {0};
  TIM_BreakDeadTimeConfigTypeDef sBreakDeadTimeConfig = {0};

  htim1.Instance = TIM1;
  htim1.Init.Prescaler = 0;
  htim1.Init.CounterMode = TIM_COUNTERMODE_CENTERALIGNED1;
  htim1.Init.Period = 8500;
  htim1.Init.ClockDivision = TIM_CLOCKDIVISION_DIV1;
  htim1.Init.RepetitionCounter = 0;
  htim1.Init.AutoReloadPreload = TIM_AUTORELOAD_PRELOAD_DISABLE;
  if (HAL_TIM_Base_Init(&htim1) != HAL_OK)
  {
    Error_Handler();
  }
  sClockSourceConfig.ClockSource = TIM_CLOCKSOURCE_INTERNAL;
  if (HAL_TIM_ConfigClockSource(&htim1, &sClockSourceConfig) != HAL_OK)
  {
    Error_Handler();
  }
  if (HAL_TIM_IC_Init(&htim1) != HAL_OK)
  {
    Error_Handler();
  }
  if (HAL_TIM_PWM_Init(&htim1) != HAL_OK)
  {
    Error_Handler();
  }
  sSlaveConfig.SlaveMode = TIM_SLAVEMODE_TRIGGER;
  sSlaveConfig.InputTrigger = TIM_TS_ITR1;
  if (HAL_TIM_SlaveConfigSynchro(&htim1, &sSlaveConfig) != HAL_OK)
  {
    Error_Handler();
  }
  sMasterConfig.MasterOutputTrigger = TIM_TRGO_RESET;
  sMasterConfig.MasterOutputTrigger2 = TIM_TRGO2_RESET;
  sMasterConfig.MasterSlaveMode = TIM_MASTERSLAVEMODE_DISABLE;
  if (HAL_TIMEx_MasterConfigSynchronization(&htim1, &sMasterConfig) != HAL_OK)
  {
    Error_Handler();
  }
  sConfigIC.ICPolarity = TIM_INPUTCHANNELPOLARITY_BOTHEDGE;
  sConfigIC.ICSelection = TIM_ICSELECTION_DIRECTTI;
  sConfigIC.ICPrescaler = TIM_ICPSC_DIV1;
  sConfigIC.ICFilter = 0;
  if (HAL_TIM_IC_ConfigChannel(&htim1, &sConfigIC, TIM_CHANNEL_1) != HAL_OK)
  {
    Error_Handler();
  }
  sConfigOC.OCMode = TIM_OCMODE_PWM1;
  sConfigOC.Pulse = 0;
  sConfigOC.OCPolarity = TIM_OCPOLARITY_HIGH;
  sConfigOC.OCNPolarity = TIM_OCNPOLARITY_LOW;
  sConfigOC.OCFastMode = TIM_OCFAST_DISABLE;
  sConfigOC.OCIdleState = TIM_OCIDLESTATE_RESET;
  sConfigOC.OCNIdleState = TIM_OCNIDLESTATE_RESET;
  if (HAL_TIM_PWM_ConfigChannel(&htim1, &sConfigOC, TIM_CHANNEL_2) != HAL_OK)
  {
    Error_Handler();
  }
  sConfigOC.OCNPolarity = TIM_OCNPOLARITY_HIGH;
  if (HAL_TIM_PWM_ConfigChannel(&htim1, &sConfigOC, TIM_CHANNEL_3) != HAL_OK)
  {
    Error_Handler();
  }
  sBreakDeadTimeConfig.OffStateRunMode = TIM_OSSR_DISABLE;
  sBreakDeadTimeConfig.OffStateIDLEMode = TIM_OSSI_DISABLE;
  sBreakDeadTimeConfig.LockLevel = TIM_LOCKLEVEL_OFF;
  sBreakDeadTimeConfig.DeadTime = 0;
  sBreakDeadTimeConfig.BreakState = TIM_BREAK_DISABLE;
  sBreakDeadTimeConfig.BreakPolarity = TIM_BREAKPOLARITY_HIGH;
  sBreakDeadTimeConfig.BreakFilter = 0;
  sBreakDeadTimeConfig.BreakAFMode = TIM_BREAK_AFMODE_INPUT;
  sBreakDeadTimeConfig.Break2State = TIM_BREAK2_DISABLE;
  sBreakDeadTimeConfig.Break2Polarity = TIM_BREAK2POLARITY_HIGH;
  sBreakDeadTimeConfig.Break2Filter = 0;
  sBreakDeadTimeConfig.Break2AFMode = TIM_BREAK_AFMODE_INPUT;
  sBreakDeadTimeConfig.AutomaticOutput = TIM_AUTOMATICOUTPUT_DISABLE;
  if (HAL_TIMEx_ConfigBreakDeadTime(&htim1, &sBreakDeadTimeConfig) != HAL_OK)
  {
    Error_Handler();
  }
  HAL_TIM_MspPostInit(&htim1);

}

static void MX_TIM2_Init(void)
{

  TIM_ClockConfigTypeDef sClockSourceConfig = {0};
  TIM_MasterConfigTypeDef sMasterConfig = {0};
  TIM_IC_InitTypeDef sConfigIC = {0};
  TIM_OC_InitTypeDef sConfigOC = {0};

  htim2.Instance = TIM2;
  htim2.Init.Prescaler = 0;
  htim2.Init.CounterMode = TIM_COUNTERMODE_CENTERALIGNED1;
  htim2.Init.Period = 8500;
  htim2.Init.ClockDivision = TIM_CLOCKDIVISION_DIV1;
  htim2.Init.AutoReloadPreload = TIM_AUTORELOAD_PRELOAD_DISABLE;
  if (HAL_TIM_Base_Init(&htim2) != HAL_OK)
  {
    Error_Handler();
  }
  sClockSourceConfig.ClockSource = TIM_CLOCKSOURCE_INTERNAL;
  if (HAL_TIM_ConfigClockSource(&htim2, &sClockSourceConfig) != HAL_OK)
  {
    Error_Handler();
  }
  if (HAL_TIM_IC_Init(&htim2) != HAL_OK)
  {
    Error_Handler();
  }
  if (HAL_TIM_PWM_Init(&htim2) != HAL_OK)
  {
    Error_Handler();
  }
  sMasterConfig.MasterOutputTrigger = TIM_TRGO_ENABLE;
  sMasterConfig.MasterSlaveMode = TIM_MASTERSLAVEMODE_ENABLE;
  if (HAL_TIMEx_MasterConfigSynchronization(&htim2, &sMasterConfig) != HAL_OK)
  {
    Error_Handler();
  }
  sConfigIC.ICPolarity = TIM_INPUTCHANNELPOLARITY_BOTHEDGE;
  sConfigIC.ICSelection = TIM_ICSELECTION_DIRECTTI;
  sConfigIC.ICPrescaler = TIM_ICPSC_DIV1;
  sConfigIC.ICFilter = 0;
  if (HAL_TIM_IC_ConfigChannel(&htim2, &sConfigIC, TIM_CHANNEL_3) != HAL_OK)
  {
    Error_Handler();
  }
  sConfigOC.OCMode = TIM_OCMODE_PWM1;
  sConfigOC.Pulse = 0;
  sConfigOC.OCPolarity = TIM_OCPOLARITY_HIGH;
  sConfigOC.OCFastMode = TIM_OCFAST_DISABLE;
  if (HAL_TIM_PWM_ConfigChannel(&htim2, &sConfigOC, TIM_CHANNEL_4) != HAL_OK)
  {
    Error_Handler();
  }
  HAL_TIM_MspPostInit(&htim2);

}

static void MX_TIM3_Init(void)
{

  TIM_ClockConfigTypeDef sClockSourceConfig = {0};
  TIM_SlaveConfigTypeDef sSlaveConfig = {0};
  TIM_MasterConfigTypeDef sMasterConfig = {0};
  TIM_OC_InitTypeDef sConfigOC = {0};

  htim3.Instance = TIM3;
  htim3.Init.Prescaler = 0;
  htim3.Init.CounterMode = TIM_COUNTERMODE_CENTERALIGNED1;
  htim3.Init.Period = 8500;
  htim3.Init.ClockDivision = TIM_CLOCKDIVISION_DIV1;
  htim3.Init.AutoReloadPreload = TIM_AUTORELOAD_PRELOAD_DISABLE;
  if (HAL_TIM_Base_Init(&htim3) != HAL_OK)
  {
    Error_Handler();
  }
  sClockSourceConfig.ClockSource = TIM_CLOCKSOURCE_INTERNAL;
  if (HAL_TIM_ConfigClockSource(&htim3, &sClockSourceConfig) != HAL_OK)
  {
    Error_Handler();
  }
  if (HAL_TIM_PWM_Init(&htim3) != HAL_OK)
  {
    Error_Handler();
  }
  sSlaveConfig.SlaveMode = TIM_SLAVEMODE_TRIGGER;
  sSlaveConfig.InputTrigger = TIM_TS_ITR7;
  if (HAL_TIM_SlaveConfigSynchro(&htim3, &sSlaveConfig) != HAL_OK)
  {
    Error_Handler();
  }
  sMasterConfig.MasterOutputTrigger = TIM_TRGO_RESET;
  sMasterConfig.MasterSlaveMode = TIM_MASTERSLAVEMODE_DISABLE;
  if (HAL_TIMEx_MasterConfigSynchronization(&htim3, &sMasterConfig) != HAL_OK)
  {
    Error_Handler();
  }
  sConfigOC.OCMode = TIM_OCMODE_PWM1;
  sConfigOC.Pulse = 0;
  sConfigOC.OCPolarity = TIM_OCPOLARITY_HIGH;
  sConfigOC.OCFastMode = TIM_OCFAST_DISABLE;
  if (HAL_TIM_PWM_ConfigChannel(&htim3, &sConfigOC, TIM_CHANNEL_1) != HAL_OK)
  {
    Error_Handler();
  }
  if (HAL_TIM_PWM_ConfigChannel(&htim3, &sConfigOC, TIM_CHANNEL_2) != HAL_OK)
  {
    Error_Handler();
  }
  HAL_TIM_MspPostInit(&htim3);

}

static void MX_TIM4_Init(void)
{

  TIM_Encoder_InitTypeDef sConfig = {0};
  TIM_MasterConfigTypeDef sMasterConfig = {0};

  htim4.Instance = TIM4;
  htim4.Init.Prescaler = 0;
  htim4.Init.CounterMode = TIM_COUNTERMODE_UP;
  htim4.Init.Period = 65535;
  htim4.Init.ClockDivision = TIM_CLOCKDIVISION_DIV1;
  htim4.Init.AutoReloadPreload = TIM_AUTORELOAD_PRELOAD_DISABLE;
  sConfig.EncoderMode = TIM_ENCODERMODE_TI12;
  sConfig.IC1Polarity = TIM_ICPOLARITY_RISING;
  sConfig.IC1Selection = TIM_ICSELECTION_DIRECTTI;
  sConfig.IC1Prescaler = TIM_ICPSC_DIV1;
  sConfig.IC1Filter = 0;
  sConfig.IC2Polarity = TIM_ICPOLARITY_RISING;
  sConfig.IC2Selection = TIM_ICSELECTION_DIRECTTI;
  sConfig.IC2Prescaler = TIM_ICPSC_DIV1;
  sConfig.IC2Filter = 5;
  if (HAL_TIM_Encoder_Init(&htim4, &sConfig) != HAL_OK)
  {
    Error_Handler();
  }
  sMasterConfig.MasterOutputTrigger = TIM_TRGO_RESET;
  sMasterConfig.MasterSlaveMode = TIM_MASTERSLAVEMODE_DISABLE;
  if (HAL_TIMEx_MasterConfigSynchronization(&htim4, &sMasterConfig) != HAL_OK)
  {
    Error_Handler();
  }

}

static void MX_TIM5_Init(void)
{

  TIM_ClockConfigTypeDef sClockSourceConfig = {0};
  TIM_SlaveConfigTypeDef sSlaveConfig = {0};
  TIM_IC_InitTypeDef sConfigIC = {0};
  TIM_MasterConfigTypeDef sMasterConfig = {0};

  htim5.Instance = TIM5;
  htim5.Init.Prescaler = 0;
  htim5.Init.CounterMode = TIM_COUNTERMODE_CENTERALIGNED1;
  htim5.Init.Period = 8500;
  htim5.Init.ClockDivision = TIM_CLOCKDIVISION_DIV1;
  htim5.Init.AutoReloadPreload = TIM_AUTORELOAD_PRELOAD_DISABLE;
  if (HAL_TIM_Base_Init(&htim5) != HAL_OK)
  {
    Error_Handler();
  }
  sClockSourceConfig.ClockSource = TIM_CLOCKSOURCE_INTERNAL;
  if (HAL_TIM_ConfigClockSource(&htim5, &sClockSourceConfig) != HAL_OK)
  {
    Error_Handler();
  }
  if (HAL_TIM_IC_Init(&htim5) != HAL_OK)
  {
    Error_Handler();
  }
  sSlaveConfig.SlaveMode = TIM_SLAVEMODE_RESET;
  sSlaveConfig.InputTrigger = TIM_TS_TI1FP1;
  sSlaveConfig.TriggerPolarity = TIM_INPUTCHANNELPOLARITY_RISING;
  sSlaveConfig.TriggerPrescaler = TIM_ICPSC_DIV1;
  sSlaveConfig.TriggerFilter = 5;
  if (HAL_TIM_SlaveConfigSynchro(&htim5, &sSlaveConfig) != HAL_OK)
  {
    Error_Handler();
  }
  sConfigIC.ICPolarity = TIM_INPUTCHANNELPOLARITY_RISING;
  sConfigIC.ICSelection = TIM_ICSELECTION_DIRECTTI;
  sConfigIC.ICPrescaler = TIM_ICPSC_DIV1;
  sConfigIC.ICFilter = 5;
  if (HAL_TIM_IC_ConfigChannel(&htim5, &sConfigIC, TIM_CHANNEL_1) != HAL_OK)
  {
    Error_Handler();
  }
  sConfigIC.ICPolarity = TIM_INPUTCHANNELPOLARITY_FALLING;
  sConfigIC.ICSelection = TIM_ICSELECTION_INDIRECTTI;
  if (HAL_TIM_IC_ConfigChannel(&htim5, &sConfigIC, TIM_CHANNEL_2) != HAL_OK)
  {
    Error_Handler();
  }
  sMasterConfig.MasterOutputTrigger = TIM_TRGO_RESET;
  sMasterConfig.MasterSlaveMode = TIM_MASTERSLAVEMODE_DISABLE;
  if (HAL_TIMEx_MasterConfigSynchronization(&htim5, &sMasterConfig) != HAL_OK)
  {
    Error_Handler();
  }

}

static void MX_TIM8_Init(void)
{

  TIM_ClockConfigTypeDef sClockSourceConfig = {0};
  TIM_MasterConfigTypeDef sMasterConfig = {0};
  TIM_IC_InitTypeDef sConfigIC = {0};
  TIM_OC_InitTypeDef sConfigOC = {0};
  TIM_BreakDeadTimeConfigTypeDef sBreakDeadTimeConfig = {0};

  htim8.Instance = TIM8;
  htim8.Init.Prescaler = 0;
  htim8.Init.CounterMode = TIM_COUNTERMODE_CENTERALIGNED1;
  htim8.Init.Period = 8500;
  htim8.Init.ClockDivision = TIM_CLOCKDIVISION_DIV1;
  htim8.Init.RepetitionCounter = 0;
  htim8.Init.AutoReloadPreload = TIM_AUTORELOAD_PRELOAD_DISABLE;
  if (HAL_TIM_Base_Init(&htim8) != HAL_OK)
  {
    Error_Handler();
  }
  sClockSourceConfig.ClockSource = TIM_CLOCKSOURCE_INTERNAL;
  if (HAL_TIM_ConfigClockSource(&htim8, &sClockSourceConfig) != HAL_OK)
  {
    Error_Handler();
  }
  if (HAL_TIM_IC_Init(&htim8) != HAL_OK)
  {
    Error_Handler();
  }
  if (HAL_TIM_PWM_Init(&htim8) != HAL_OK)
  {
    Error_Handler();
  }
  sMasterConfig.MasterOutputTrigger = TIM_TRGO_ENABLE;
  sMasterConfig.MasterOutputTrigger2 = TIM_TRGO2_RESET;
  sMasterConfig.MasterSlaveMode = TIM_MASTERSLAVEMODE_ENABLE;
  if (HAL_TIMEx_MasterConfigSynchronization(&htim8, &sMasterConfig) != HAL_OK)
  {
    Error_Handler();
  }
  sConfigIC.ICPolarity = TIM_INPUTCHANNELPOLARITY_BOTHEDGE;
  sConfigIC.ICSelection = TIM_ICSELECTION_DIRECTTI;
  sConfigIC.ICPrescaler = TIM_ICPSC_DIV1;
  sConfigIC.ICFilter = 0;
  if (HAL_TIM_IC_ConfigChannel(&htim8, &sConfigIC, TIM_CHANNEL_1) != HAL_OK)
  {
    Error_Handler();
  }
  if (HAL_TIM_IC_ConfigChannel(&htim8, &sConfigIC, TIM_CHANNEL_2) != HAL_OK)
  {
    Error_Handler();
  }
  sConfigOC.OCMode = TIM_OCMODE_PWM1;
  sConfigOC.Pulse = 0;
  sConfigOC.OCPolarity = TIM_OCPOLARITY_HIGH;
  sConfigOC.OCNPolarity = TIM_OCNPOLARITY_HIGH;
  sConfigOC.OCFastMode = TIM_OCFAST_DISABLE;
  sConfigOC.OCIdleState = TIM_OCIDLESTATE_RESET;
  sConfigOC.OCNIdleState = TIM_OCNIDLESTATE_RESET;
  if (HAL_TIM_PWM_ConfigChannel(&htim8, &sConfigOC, TIM_CHANNEL_3) != HAL_OK)
  {
    Error_Handler();
  }
  sBreakDeadTimeConfig.OffStateRunMode = TIM_OSSR_DISABLE;
  sBreakDeadTimeConfig.OffStateIDLEMode = TIM_OSSI_DISABLE;
  sBreakDeadTimeConfig.LockLevel = TIM_LOCKLEVEL_OFF;
  sBreakDeadTimeConfig.DeadTime = 0;
  sBreakDeadTimeConfig.BreakState = TIM_BREAK_DISABLE;
  sBreakDeadTimeConfig.BreakPolarity = TIM_BREAKPOLARITY_HIGH;
  sBreakDeadTimeConfig.BreakFilter = 0;
  sBreakDeadTimeConfig.BreakAFMode = TIM_BREAK_AFMODE_INPUT;
  sBreakDeadTimeConfig.Break2State = TIM_BREAK2_DISABLE;
  sBreakDeadTimeConfig.Break2Polarity = TIM_BREAK2POLARITY_HIGH;
  sBreakDeadTimeConfig.Break2Filter = 0;
  sBreakDeadTimeConfig.Break2AFMode = TIM_BREAK_AFMODE_INPUT;
  sBreakDeadTimeConfig.AutomaticOutput = TIM_AUTOMATICOUTPUT_DISABLE;
  if (HAL_TIMEx_ConfigBreakDeadTime(&htim8, &sBreakDeadTimeConfig) != HAL_OK)
  {
    Error_Handler();
  }
  HAL_TIM_MspPostInit(&htim8);

}

static void MX_UART5_Init(void)
{

  huart5.Instance = UART5;
  huart5.Init.BaudRate = 115200;
  huart5.Init.WordLength = UART_WORDLENGTH_8B;
  huart5.Init.StopBits = UART_STOPBITS_1;
  huart5.Init.Parity = UART_PARITY_NONE;
  huart5.Init.Mode = UART_MODE_TX_RX;
  huart5.Init.HwFlowCtl = UART_HWCONTROL_NONE;
  huart5.Init.OverSampling = UART_OVERSAMPLING_16;
  huart5.Init.OneBitSampling = UART_ONE_BIT_SAMPLE_DISABLE;
  huart5.Init.ClockPrescaler = UART_PRESCALER_DIV1;
  huart5.AdvancedInit.AdvFeatureInit = UART_ADVFEATURE_NO_INIT;
  if (HAL_UART_Init(&huart5) != HAL_OK)
  {
    Error_Handler();
  }
  if (HAL_UARTEx_SetTxFifoThreshold(&huart5, UART_TXFIFO_THRESHOLD_1_8) != HAL_OK)
  {
    Error_Handler();
  }
  if (HAL_UARTEx_SetRxFifoThreshold(&huart5, UART_RXFIFO_THRESHOLD_1_8) != HAL_OK)
  {
    Error_Handler();
  }
  if (HAL_UARTEx_DisableFifoMode(&huart5) != HAL_OK)
  {
    Error_Handler();
  }

}

static void MX_USART3_UART_Init(void)
{

  huart3.Instance = USART3;
  huart3.Init.BaudRate = 115200;
  huart3.Init.WordLength = UART_WORDLENGTH_8B;
  huart3.Init.StopBits = UART_STOPBITS_1;
  huart3.Init.Parity = UART_PARITY_NONE;
  huart3.Init.Mode = UART_MODE_TX_RX;
  huart3.Init.HwFlowCtl = UART_HWCONTROL_NONE;
  huart3.Init.OverSampling = UART_OVERSAMPLING_16;
  huart3.Init.OneBitSampling = UART_ONE_BIT_SAMPLE_DISABLE;
  huart3.Init.ClockPrescaler = UART_PRESCALER_DIV1;
  huart3.AdvancedInit.AdvFeatureInit = UART_ADVFEATURE_NO_INIT;
  if (HAL_UART_Init(&huart3) != HAL_OK)
  {
    Error_Handler();
  }
  if (HAL_UARTEx_SetTxFifoThreshold(&huart3, UART_TXFIFO_THRESHOLD_1_8) != HAL_OK)
  {
    Error_Handler();
  }
  if (HAL_UARTEx_SetRxFifoThreshold(&huart3, UART_RXFIFO_THRESHOLD_1_8) != HAL_OK)
  {
    Error_Handler();
  }
  if (HAL_UARTEx_DisableFifoMode(&huart3) != HAL_OK)
  {
    Error_Handler();
  }

}

static void MX_GPIO_Init(void)
{
  GPIO_InitTypeDef GPIO_InitStruct = {0};

  /* GPIO Ports Clock Enable */
  __HAL_RCC_GPIOC_CLK_ENABLE();
  __HAL_RCC_GPIOF_CLK_ENABLE();
  __HAL_RCC_GPIOA_CLK_ENABLE();
  __HAL_RCC_GPIOB_CLK_ENABLE();
  __HAL_RCC_GPIOE_CLK_ENABLE();
  __HAL_RCC_GPIOD_CLK_ENABLE();

  /*Configure GPIO pin Output Level */
  HAL_GPIO_WritePin(GPIOC, ENABLE_S_Pin|ENABLE_D_Pin|CS_S_Pin|SW0_Pin
                          |SW1_Pin|INLA_D_Pin|INLB_D_Pin, GPIO_PIN_RESET);

  /*Configure GPIO pin Output Level */
  HAL_GPIO_WritePin(CS_D_GPIO_Port, CS_D_Pin, GPIO_PIN_RESET);

  /*Configure GPIO pin Output Level */
  HAL_GPIO_WritePin(GPIOB, SW2_Pin|INLC_D_Pin|INLA_S_Pin, GPIO_PIN_RESET);

  /*Configure GPIO pin Output Level */
  HAL_GPIO_WritePin(GPIOE, SW3_Pin|CAN_LED_Pin|DBG_LED_Pin|ERR_LED_Pin
                          |INLB_S_Pin|INLC_S_Pin, GPIO_PIN_RESET);

  /*Configure GPIO pin Output Level */
  HAL_GPIO_WritePin(GPIOD, CAL_S_Pin|CAL_D_Pin, GPIO_PIN_RESET);

  /*Configure GPIO pins : Index_Swer_Encoder_Pin nFAULT_D_Pin */
  GPIO_InitStruct.Pin = Index_Swer_Encoder_Pin|nFAULT_D_Pin;
  GPIO_InitStruct.Mode = GPIO_MODE_IT_RISING;
  GPIO_InitStruct.Pull = GPIO_NOPULL;
  HAL_GPIO_Init(GPIOC, &GPIO_InitStruct);

  /*Configure GPIO pins : ENABLE_S_Pin ENABLE_D_Pin CS_S_Pin SW0_Pin
                           SW1_Pin INLA_D_Pin INLB_D_Pin */
  GPIO_InitStruct.Pin = ENABLE_S_Pin|ENABLE_D_Pin|CS_S_Pin|SW0_Pin
                          |SW1_Pin|INLA_D_Pin|INLB_D_Pin;
  GPIO_InitStruct.Mode = GPIO_MODE_OUTPUT_PP;
  GPIO_InitStruct.Pull = GPIO_NOPULL;
  GPIO_InitStruct.Speed = GPIO_SPEED_FREQ_LOW;
  HAL_GPIO_Init(GPIOC, &GPIO_InitStruct);

  /*Configure GPIO pin : CS_D_Pin */
  GPIO_InitStruct.Pin = CS_D_Pin;
  GPIO_InitStruct.Mode = GPIO_MODE_OUTPUT_PP;
  GPIO_InitStruct.Pull = GPIO_NOPULL;
  GPIO_InitStruct.Speed = GPIO_SPEED_FREQ_LOW;
  HAL_GPIO_Init(CS_D_GPIO_Port, &GPIO_InitStruct);

  /*Configure GPIO pins : SW2_Pin INLC_D_Pin INLA_S_Pin */
  GPIO_InitStruct.Pin = SW2_Pin|INLC_D_Pin|INLA_S_Pin;
  GPIO_InitStruct.Mode = GPIO_MODE_OUTPUT_PP;
  GPIO_InitStruct.Pull = GPIO_NOPULL;
  GPIO_InitStruct.Speed = GPIO_SPEED_FREQ_LOW;
  HAL_GPIO_Init(GPIOB, &GPIO_InitStruct);

  /*Configure GPIO pins : SW3_Pin CAN_LED_Pin DBG_LED_Pin ERR_LED_Pin
                           INLB_S_Pin INLC_S_Pin */
  GPIO_InitStruct.Pin = SW3_Pin|CAN_LED_Pin|DBG_LED_Pin|ERR_LED_Pin
                          |INLB_S_Pin|INLC_S_Pin;
  GPIO_InitStruct.Mode = GPIO_MODE_OUTPUT_PP;
  GPIO_InitStruct.Pull = GPIO_NOPULL;
  GPIO_InitStruct.Speed = GPIO_SPEED_FREQ_LOW;
  HAL_GPIO_Init(GPIOE, &GPIO_InitStruct);

  /*Configure GPIO pin : nFAULT_S_Pin */
  GPIO_InitStruct.Pin = nFAULT_S_Pin;
  GPIO_InitStruct.Mode = GPIO_MODE_IT_RISING;
  GPIO_InitStruct.Pull = GPIO_NOPULL;
  HAL_GPIO_Init(nFAULT_S_GPIO_Port, &GPIO_InitStruct);

  /*Configure GPIO pins : CAL_S_Pin CAL_D_Pin */
  GPIO_InitStruct.Pin = CAL_S_Pin|CAL_D_Pin;
  GPIO_InitStruct.Mode = GPIO_MODE_OUTPUT_PP;
  GPIO_InitStruct.Pull = GPIO_NOPULL;
  GPIO_InitStruct.Speed = GPIO_SPEED_FREQ_LOW;
  HAL_GPIO_Init(GPIOD, &GPIO_InitStruct);

  /*Configure GPIO pin : Hall_C_Drive_Pin */
  GPIO_InitStruct.Pin = Hall_C_Drive_Pin;
  GPIO_InitStruct.Mode = GPIO_MODE_IT_RISING_FALLING;
  GPIO_InitStruct.Pull = GPIO_NOPULL;
  HAL_GPIO_Init(Hall_C_Drive_GPIO_Port, &GPIO_InitStruct);

  /*Configure GPIO pin : Hall_C_Swer_Pin */
  GPIO_InitStruct.Pin = Hall_C_Swer_Pin;
  GPIO_InitStruct.Mode = GPIO_MODE_IT_RISING_FALLING;
  GPIO_InitStruct.Pull = GPIO_NOPULL;
  HAL_GPIO_Init(Hall_C_Swer_GPIO_Port, &GPIO_InitStruct);

}

void Error_Handler(void)
{
  __disable_irq();
  while (1)
  {
  }
}
